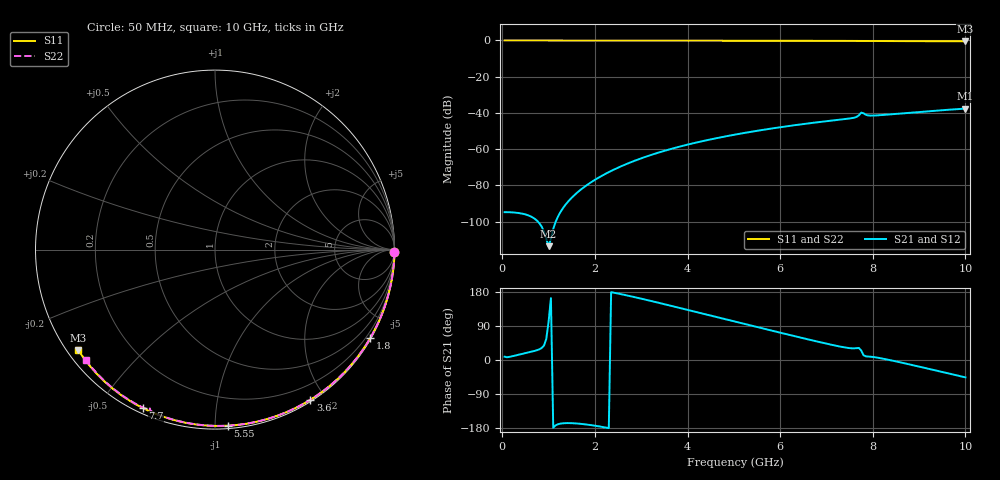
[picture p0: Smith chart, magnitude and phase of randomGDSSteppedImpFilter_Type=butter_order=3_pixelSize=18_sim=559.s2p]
! freq	dB(S11)	phase(S11)	dB(S12)	phase(S12)
!  dB(S21)	phase(S21)	dB(S22)	phase(S22)
!S-par simulation data
#  GHz  S  DB  R 50
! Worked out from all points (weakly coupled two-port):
!   200 points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, 50 MHz to 10 GHz, reference 50 ohm
!   highest |S21| = -37.61 dB at 10 GHz (marker M1); lowest = -113.5 dB at 1 GHz (marker M2)
!   lowest |S11| = -0.5 dB at 10 GHz (marker M3), VSWR 35.53, Z = 1.56 - j16.4 ohm
!   |S11| at or under -10 dB: nowhere
!   |S22| runs from -0.5 to 0.0 dB; largest |S21 - S12| = 0
!   S11 on the Smith chart (normalised r, x): 50 MHz: open; 1.8 GHz: 0.03, -3.79; 3.6 GHz: 0.02, -1.82; 5.55 GHz: 0.02, -1.07; 7.7 GHz: 0.02, -0.64; 10 GHz: 0.03, -0.33
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0.05  -0.00 -0.8  -94.77 8.8  -94.77 8.8  -0.00 -0.8
1  -0.02 -16.6  -113.53 101.3  -113.53 101.3  -0.02 -16.1
1.75  -0.04 -28.7  -81.24 -169.2  -81.24 -169.2  -0.04 -27.9
1.8  -0.04 -29.6  -80.29 -169.9  -80.29 -169.9  -0.04 -28.7
2.2  -0.05 -35.9  -73.99 -177.5  -73.99 -177.5  -0.04 -34.9
2.55  -0.05 -41.5  -69.63 174.1  -69.63 174.1  -0.05 -40.3
2.95  -0.06 -47.7  -65.51 163.3  -65.51 163.3  -0.06 -46.3
3.4  -0.07 -54.6  -61.67 150.3  -61.67 150.3  -0.07 -53.1
3.6  -0.08 -57.6  -60.17 144.3  -60.17 144.3  -0.08 -56.0
4.3  -0.10 -68.0  -55.70 123.2  -55.70 123.2  -0.09 -66.1
5.05  -0.12 -78.9  -51.84 100.5  -51.84 100.5  -0.12 -76.7
5.55  -0.14 -85.9  -49.65 85.5  -49.65 85.5  -0.14 -83.5
6.7  -0.20 -101.5  -45.48 51.6  -45.48 51.6  -0.19 -98.7
7.55  -0.25 -112.6  -42.87 30.8  -42.87 30.8  -0.25 -109.7
7.65  -0.26 -113.9  -42.20 31.3  -42.20 31.3  -0.27 -111.1
7.7  -0.27 -114.5  -41.31 31.8  -41.31 31.8  -0.30 -111.9
7.75  -0.27 -115.1  -39.85 25.0  -39.85 25.0  -0.38 -112.3
7.85  -0.27 -116.4  -41.02 9.7  -41.02 9.7  -0.31 -112.9
7.95  -0.28 -117.7  -41.46 8.8  -41.46 8.8  -0.29 -114.3
8.35  -0.32 -122.8  -40.85 0.3  -40.85 0.3  -0.31 -119.4
9.2  -0.40 -133.6  -39.07 -23.0  -39.07 -23.0  -0.39 -129.8
10  -0.49 -143.7  -37.61 -45.9  -37.61 -45.9  -0.47 -139.6
